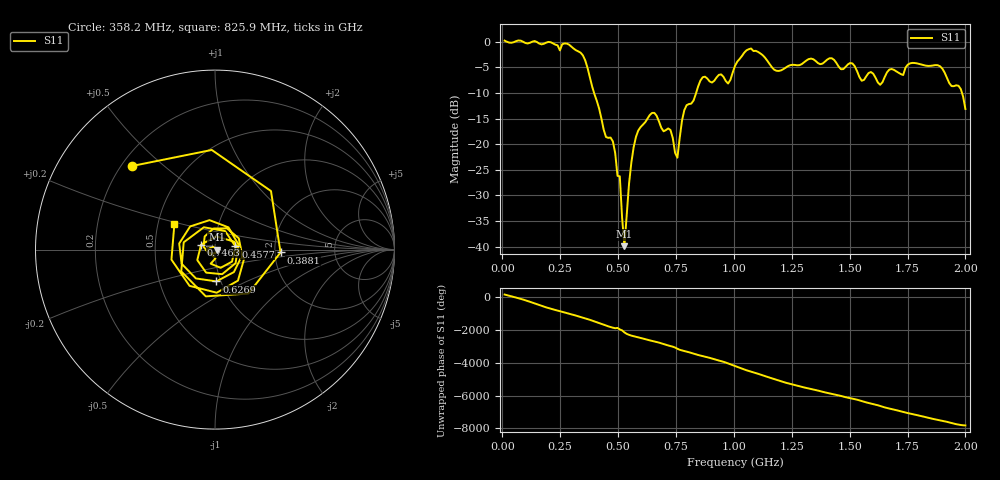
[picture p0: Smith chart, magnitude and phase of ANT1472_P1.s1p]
!Created with skrf (http://scikit-rf.org).
# Hz S RI R 50.0
!freq ReS11 ImS11
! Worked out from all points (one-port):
!   201 points, 10 MHz to 2 GHz, reference 50 ohm
!   lowest |S11| = -39.9 dB at 527.4 MHz (marker M1), VSWR 1.02, Z = 51 + j0.0385 ohm
!   |S11| at or under -10 dB: 396.5 MHz to 837 MHz (440.5 MHz wide, 71.4 % of centre); 1.985 GHz to end of sweep
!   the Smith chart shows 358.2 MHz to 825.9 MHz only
!   S11 on the Smith chart (normalised r, x): 358.2 MHz: 0.24, +0.39; 388.1 MHz: 2.15, -0.08; 457.8 MHz: 1.26, +0.04; 626.9 MHz: 0.95, -0.35; 746.3 MHz: 0.85, +0.05; 825.9 MHz: 0.61, +0.18
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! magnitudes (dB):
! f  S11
! 10 MHz  0.2
! 258.8 MHz  -0.5
! 358.2 MHz  -3.6
! 388.1 MHz  -8.7
! 457.8 MHz  -18.8
! 477.6 MHz  -19.5
! 507.5 MHz  -26.3
! 527.4 MHz  -39.9
! 547.3 MHz  -27.7
! 567.2 MHz  -20.6
! 626.9 MHz  -15.0
! 726.4 MHz  -17.2
! 746.3 MHz  -21.7
! 756.2 MHz  -22.6
! 786.1 MHz  -13.3
! 825.9 MHz  -11.5
! 865.7 MHz  -6.9
! 975.1 MHz  -8.2
! 1.005 GHz  -4.7
! 1.075 GHz  -1.3
! 1.184 GHz  -5.7
! 1.254 GHz  -4.5
! 1.502 GHz  -4.1
! 1.632 GHz  -8.4
! 1.751 GHz  -4.5
! 1.891 GHz  -4.8
! 1.98 GHz  -9.2
! 2 GHz  -13.1
